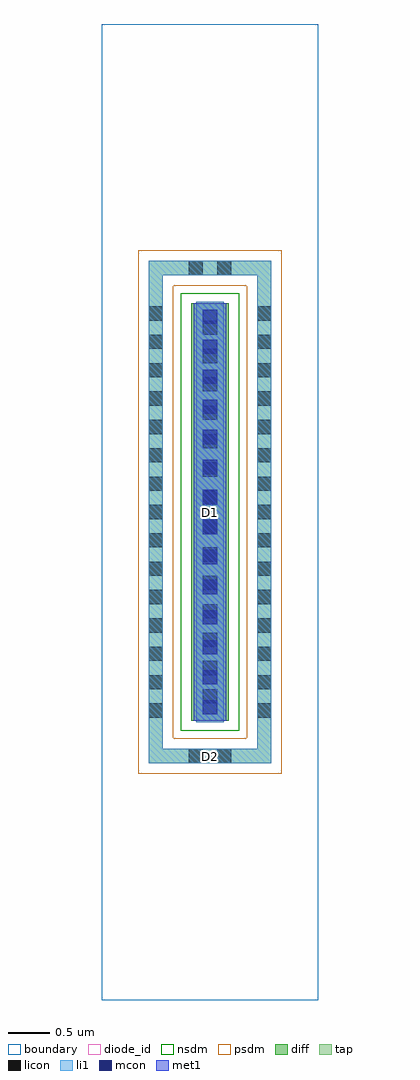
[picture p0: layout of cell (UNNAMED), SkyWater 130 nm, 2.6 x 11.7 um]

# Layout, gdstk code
import gdstk
lib = gdstk.Library(unit=1e-6, precision=1e-09)
def R(c, l, rs):  # rectangles x0, y0, x1, y1
    for r in rs: c.add(gdstk.rectangle(r[:2], r[2:], *l))
def A(c, l, x, y, w, h, nx, ny, dx, dy):  # array of equal rectangles
    R(c, l, [(x+i*dx, y+j*dy, x+i*dx+w, y+j*dy+h) for i in range(nx) for j in range(ny)])
diff = (65, 20)
tap = (65, 44)
licon = (66, 44)
li1 = (67, 20)
mcon = (67, 44)
met1 = (68, 20)
diode_id = (81, 23)
nsdm = (93, 44)
psdm = (94, 20)
boundary = (235, 4)

c__unnamed_ = lib.new_cell('(UNNAMED)')
R(c__unnamed_, diff, [(-0.225,-2.5,0.225,2.5)])
R(c__unnamed_, tap, [(-0.735,-3.01,0.735,-2.84), (-0.735,-2.84,-0.565,2.84), (0.565,-2.84,0.735,2.84), (-0.735,2.84,0.735,3.01)])
A(c__unnamed_, licon, -0.735, -2.465, 0.17, 0.17, 1, 15, 0, 0.34)
A(c__unnamed_, licon, 0.565, -2.465, 0.17, 0.17, 1, 15, 0, 0.34)
A(c__unnamed_, licon, -0.085, -2.295, 0.17, 0.17, 1, 14, 0, 0.34)
R(c__unnamed_, licon, [(-0.255,-3.01,-0.085,-2.84), (0.085,-3.01,0.255,-2.84), (-0.255,2.84,-0.085,3.01), (0.085,2.84,0.255,3.01)])
R(c__unnamed_, li1, [(-0.735,-3.01,0.735,-2.84), (-0.735,-2.84,-0.565,2.84), (0.565,-2.84,0.735,2.84), (-0.165,-2.52,0.165,2.52), (-0.735,2.84,0.735,3.01)])
A(c__unnamed_, mcon, -0.085, -2.425, 0.17, 0.17, 1, 14, 0, 0.36)
R(c__unnamed_, met1, [(-0.195,-2.5,0.195,2.5)])
R(c__unnamed_, diode_id, [(-0.225,-2.5,0.225,2.5)])
R(c__unnamed_, nsdm, [(-0.35,-2.625,0.35,2.625)])
R(c__unnamed_, psdm, [(-0.86,-3.135,0.86,-2.715), (-0.86,-2.715,-0.44,2.715), (0.44,-2.715,0.86,2.715), (-0.86,2.715,0.86,3.135)])
R(c__unnamed_, boundary, [(-1.3,-5.85,1.3,5.85)])
c__unnamed_.add(gdstk.Label('D2', (0,-2.925), layer=67, texttype=5))
c__unnamed_.add(gdstk.Label('D1', (0,0), layer=67, texttype=5))

lib.write_gds('_UNNAMED_.gds')
